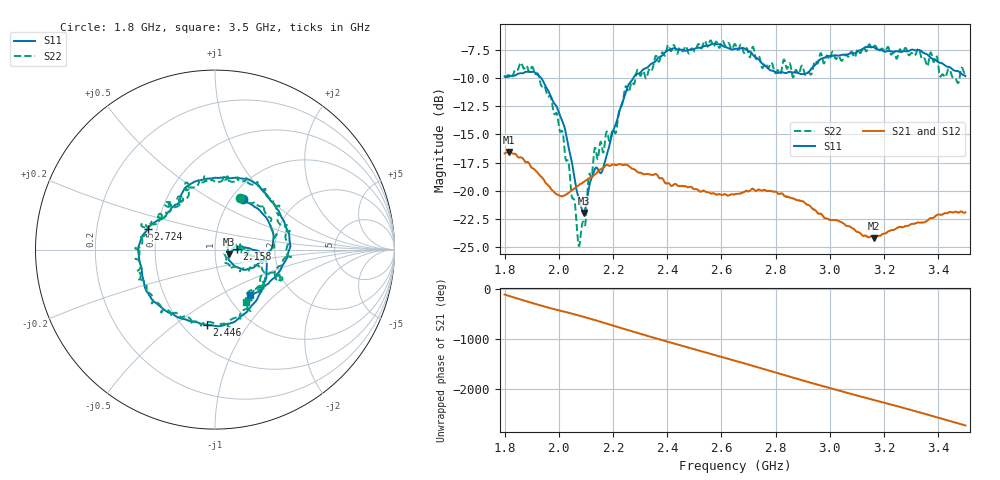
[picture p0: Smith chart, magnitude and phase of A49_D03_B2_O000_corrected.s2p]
! Created with skrf 1.9.0 (http://scikit-rf.org).
# Hz S RI R 50.0
!freq ReS11 ImS11 ReS21 ImS21 ReS12 ImS12 ReS22 ImS22
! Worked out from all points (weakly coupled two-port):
!   1601 points, 1.8 GHz to 3.5 GHz, reference 50 ohm
!   highest |S21| = -16.56 dB at 1.816 GHz (marker M1); lowest = -24.2 dB at 3.163 GHz (marker M2)
!   lowest |S11| = -21.9 dB at 2.091 GHz (marker M3), VSWR 1.17, Z = 58.1 - j3 ohm
!   |S11| at or under -10 dB: 1.935 GHz to 2.275 GHz (340.4 MHz wide, 16.2 % of centre)
!   |S22| runs from -24.9 to -6.7 dB; largest |S21 - S12| = 0.0026
!   S11 on the Smith chart (normalised r, x): 1.8 GHz: 1.13, +0.71; 2.158 GHz: 1.27, +0.01; 2.446 GHz: 0.65, -0.66; 2.724 GHz: 0.45, +0.12; 3.5 GHz: 1.26, -0.72
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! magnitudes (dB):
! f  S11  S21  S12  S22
! 1.8 GHz  -9.9  -16.7  -16.7  -9.9
! 1.816 GHz  -9.9  -16.6  -16.6  -9.8
! 1.903 GHz  -9.5  -18.0  -18.0  -9.0
! 1.968 GHz  -11.5  -19.7  -19.7  -11.6
! 2.015 GHz  -13.9  -20.5  -20.5  -14.9
! 2.072 GHz  -20.5  -19.5  -19.5  -24.7
! 2.084 GHz  -21.5  -19.4  -19.3  -23.2
! 2.091 GHz  -21.9  -19.2  -19.3  -22.7
! 2.13 GHz  -18.2  -18.6  -18.6  -16.5
! 2.158 GHz  -18.4  -18.0  -18.0  -15.9
! 2.209 GHz  -14.2  -17.7  -17.7  -14.9
! 2.257 GHz  -10.6  -17.8  -17.8  -11.3
! 2.367 GHz  -8.2  -18.7  -18.7  -8.5
! 2.446 GHz  -7.5  -19.6  -19.6  -7.3
! 2.65 GHz  -7.4  -20.3  -20.3  -7.0
! 2.724 GHz  -8.1  -20.0  -19.9  -8.1
! 2.934 GHz  -9.1  -21.5  -21.5  -9.6
! 3.163 GHz  -7.3  -24.2  -24.1  -7.2
! 3.217 GHz  -7.6  -23.6  -23.5  -7.4
! 3.375 GHz  -8.3  -22.4  -22.4  -7.9
! 3.468 GHz  -9.4  -21.9  -21.9  -10.3
! 3.5 GHz  -9.8  -21.9  -21.9  -9.4
